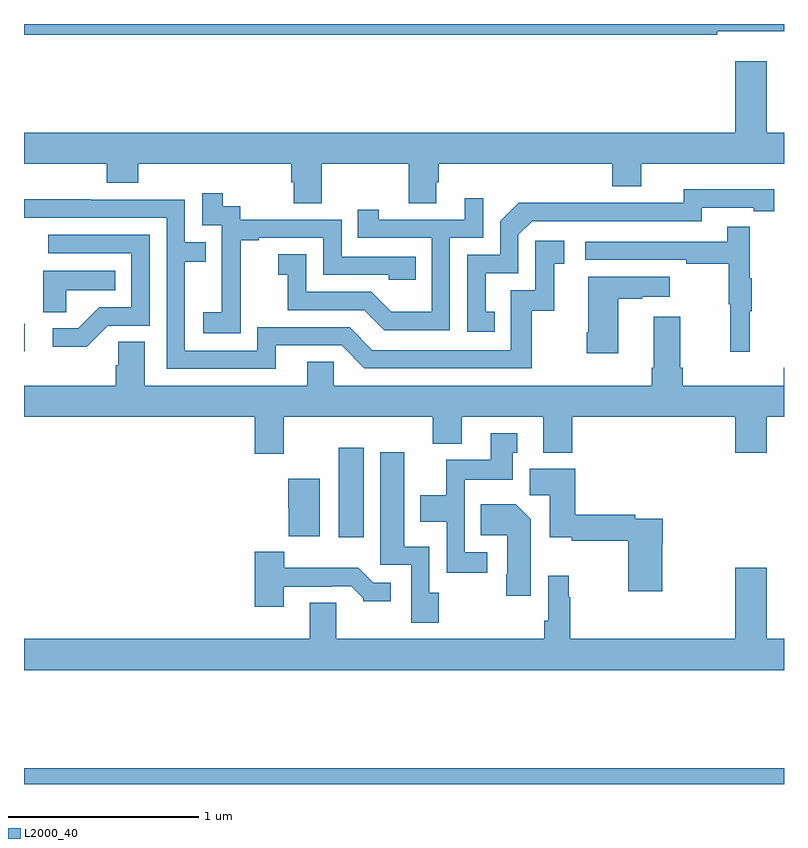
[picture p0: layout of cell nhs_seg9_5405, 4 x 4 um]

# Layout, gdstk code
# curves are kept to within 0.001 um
import gdstk
lib = gdstk.Library(unit=1e-6, precision=1e-09)
def R(c, l, rs):  # rectangles x0, y0, x1, y1
    for r in rs: c.add(gdstk.rectangle(r[:2], r[2:], *l))
def P(c, l, *ps):  # polygons
    for p in ps: c.add(gdstk.Polygon(p, *l))
L2000_40 = (2000, 40)

nhs_seg9_5405 = lib.new_cell('nhs_seg9_5405')
R(nhs_seg9_5405, L2000_40, [(425,1182.5,429,1182.584), (426.656,1183.8,426.787,1184.269), (425,1184.778,425.005,1184.922)])
P(nhs_seg9_5405, L2000_40, [(428.648,1186.463),(429,1186.463),(429,1186.5),(425,1186.5),(425,1186.444),(428.648,1186.444)],
  [(426.567,1185.764),(427.024,1185.764),(427.024,1185.556),(427.171,1185.556),(427.171,1185.666),(427.184,1185.666),(427.184,1185.764),(428.096,1185.764),(428.096,1185.647),(428.248,1185.647),(428.248,1185.764),(429,1185.764),(429,1185.928),(428.908,1185.928),(428.908,1186.303),(428.744,1186.303),(428.744,1185.928),(425,1185.928),(425,1185.764),(425.435,1185.764),(425.435,1185.665),(425.6,1185.665),(425.6,1185.764),(426.407,1185.764),(426.407,1185.666),(426.419,1185.666),(426.419,1185.556),(426.567,1185.556)],
  [(427.478,1184.985),(427.429,1184.985),(427.429,1185.189),(427.602,1185.189),(427.602,1185.39),(427.674,1185.462),(428.568,1185.462),(428.568,1185.534),(428.84,1185.534),(428.84,1185.514),(428.948,1185.514),(428.948,1185.63),(428.472,1185.631),(428.472,1185.558),(428.012,1185.558),(428.012,1185.56),(427.604,1185.56),(427.506,1185.462),(427.506,1185.285),(427.332,1185.285),(427.332,1184.88),(427.478,1184.88)],
  [(426.141,1185.079),(426.14,1185.079),(426.14,1185.363),(426.235,1185.363),(426.235,1185.375),(426.576,1185.375),(426.576,1185.18),(426.921,1185.18),(426.921,1185.153),(427.061,1185.153),(427.061,1185.276),(426.672,1185.276),(426.672,1185.471),(426.138,1185.471),(426.138,1185.54),(426.046,1185.54),(426.046,1185.61),(425.937,1185.61),(425.937,1185.441),(426.042,1185.441),(426.042,1185.212),(426.041,1185.212),(426.041,1184.983),(425.943,1184.983),(425.943,1184.873),(426.141,1184.873)],
  [(427.242,1185.375),(427.416,1185.375),(427.416,1185.583),(427.319,1185.583),(427.319,1185.471),(426.868,1185.471),(426.868,1185.523),(426.757,1185.523),(426.757,1185.375),(427.146,1185.375),(427.146,1184.986),(426.932,1184.986),(426.828,1185.09),(426.486,1185.09),(426.486,1185.289),(426.339,1185.289),(426.339,1185.179),(426.388,1185.179),(426.388,1184.994),(426.791,1184.994),(426.896,1184.889),(427.242,1184.889)],
  [(426.325,1184.808),(426.672,1184.808),(426.792,1184.688),(427.672,1184.688),(427.672,1184.991),(427.79,1184.991),(427.79,1185.237),(427.843,1185.237),(427.843,1185.358),(427.692,1185.358),(427.692,1185.099),(427.563,1185.099),(427.563,1184.784),(426.834,1184.784),(426.714,1184.904),(426.228,1184.904),(426.228,1184.781),(425.847,1184.781),(425.847,1185.25),(425.957,1185.25),(425.957,1185.351),(425.847,1185.351),(425.847,1185.576),(425.351,1185.576),(425.351,1185.578),(425,1185.578),(425,1185.48),(425.751,1185.48),(425.751,1184.685),(426.325,1184.685)],
  [(428.819,1184.987),(428.83,1184.987),(428.83,1185.161),(428.819,1185.161),(428.819,1185.433),(428.701,1185.433),(428.701,1185.354),(427.953,1185.354),(427.953,1185.258),(428.485,1185.258),(428.485,1185.238),(428.709,1185.238),(428.709,1185.024),(428.716,1185.024),(428.716,1184.775),(428.819,1184.775)],
  [(425.442,1184.913),(425.661,1184.913),(425.661,1185.39),(425.127,1185.39),(425.127,1185.294),(425.565,1185.294),(425.565,1185.009),(425.396,1185.009),(425.285,1184.898),(425.151,1184.898),(425.151,1184.801),(425.329,1184.801)],
  [(425.223,1185.098),(425.48,1185.098),(425.48,1185.202),(425.102,1185.202),(425.102,1184.983),(425.223,1184.983)],
  [(428.128,1185.055),(428.255,1185.055),(428.255,1185.065),(428.398,1185.065),(428.398,1185.169),(427.97,1185.169),(427.97,1184.878),(427.963,1184.878),(427.963,1184.766),(428.128,1184.766)],
  [(426.367,1184.432),(427.151,1184.432),(427.151,1184.291),(427.303,1184.291),(427.303,1184.432),(427.733,1184.432),(427.733,1184.243),(427.886,1184.243),(427.886,1184.432),(428.744,1184.432),(428.744,1184.244),(428.908,1184.244),(428.908,1184.432),(429,1184.432),(429,1184.692),(428.999,1184.692),(428.999,1184.596),(428.468,1184.596),(428.468,1184.692),(428.455,1184.692),(428.455,1184.959),(428.315,1184.959),(428.315,1184.692),(428.303,1184.692),(428.303,1184.596),(426.63,1184.596),(426.63,1184.723),(426.491,1184.723),(426.491,1184.596),(425.635,1184.596),(425.635,1184.828),(425.496,1184.828),(425.496,1184.705),(425.483,1184.705),(425.483,1184.596),(425,1184.596),(425,1184.432),(426.215,1184.432),(426.215,1184.238),(426.367,1184.238)],
  [(427.438,1183.719),(427.32,1183.719),(427.32,1184.102),(427.573,1184.102),(427.573,1184.244),(427.597,1184.244),(427.597,1184.347),(427.457,1184.347),(427.457,1184.206),(427.222,1184.206),(427.222,1184.02),(427.085,1184.02),(427.085,1183.88),(427.224,1183.88),(427.224,1183.611),(427.438,1183.611)],
  [(427.182,1183.506),(427.134,1183.506),(427.134,1183.75),(427,1183.75),(427,1184.245),(426.875,1184.245),(426.875,1183.653),(427.038,1183.653),(427.038,1183.35),(427.182,1183.35)],
  [(428.358,1183.763),(428.363,1183.763),(428.363,1183.896),(428.216,1183.896),(428.216,1183.916),(427.901,1183.916),(427.901,1184.158),(427.661,1184.158),(427.661,1184.02),(427.766,1184.02),(427.766,1183.799),(427.882,1183.799),(427.882,1183.78),(428.18,1183.78),(428.18,1183.515),(428.358,1183.515)],
  [(426.556,1184.107),(426.392,1184.107),(426.392,1183.953),(426.394,1183.953),(426.394,1183.805),(426.556,1183.805)],
  [(427.666,1183.894),(427.588,1183.972),(427.405,1183.972),(427.405,1183.808),(427.544,1183.808),(427.544,1183.603),(427.537,1183.603),(427.537,1183.491),(427.666,1183.491)],
  [(426.367,1183.539),(426.623,1183.539),(426.623,1183.542),(426.722,1183.542),(426.786,1183.478),(426.786,1183.463),(426.931,1183.463),(426.931,1183.56),(426.837,1183.56),(426.759,1183.639),(426.37,1183.639),(426.37,1183.723),(426.215,1183.723),(426.215,1183.434),(426.367,1183.434)],
  [(429,1183.264),(428.908,1183.264),(428.908,1183.639),(428.744,1183.639),(428.744,1183.264),(427.874,1183.264),(427.874,1183.484),(427.867,1183.484),(427.867,1183.597),(427.758,1183.597),(427.758,1183.36),(427.738,1183.36),(427.738,1183.264),(426.643,1183.264),(426.643,1183.454),(426.503,1183.454),(426.503,1183.264),(425,1183.264),(425,1183.1),(429,1183.1)])

lib.write_gds('nhs_seg9_5405.gds')
